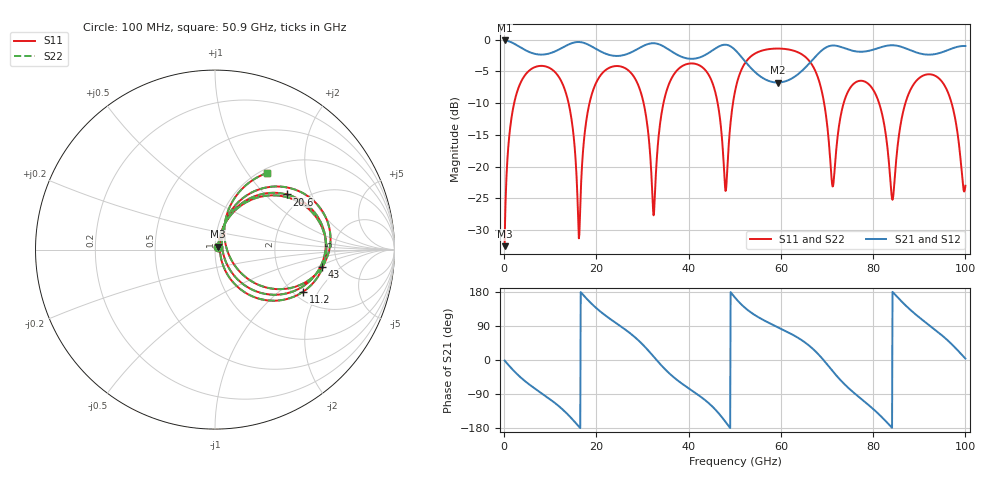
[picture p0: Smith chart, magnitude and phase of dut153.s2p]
! Touchstone file exported from HFSS 2026.1.0
!  File:  C:/ffzhzh/LocalFiles/Ansys_Project_Files/temp_test_TSV_RDL_153_1783464329_50928.aedt
!  Generated:  07:01:30 AM Jul  8, 2026
!  Design:  TSV_RDL
!  Project:  temp_test_TSV_RDL_153_1783464329_50928
! Variables:
!  h_bsmrdl = 4.2um
!  h_ox = 20um
!  h_rdl = 5um
!  h_sub = 54.29um
!  h_tmrdl = 4.93um
!  h_tsv = 54.29um
!  h_via = 3um
!  l_bsmrdl = 195.96um
!  l_sub = 3885.63um
!  l_tmrdl = 699.41um
!  m_sub = 200um
!  pitch = 51.77um
!  r_tsv = 8.87um
!  s_tmrdl = 10um
!  w_bsmrdl = 17.95um
!  w_sub = 500um
!  w_tmrdl = 15.42um
!  x_tsv_center1 = 707.12um
!  x_tsv_center2 = 921.03um
!  x_tsv_center3 = 1635.86um
!  x_tsv_center4 = 1849.77um
!  x_tsv_center5 = 2564.6um
!  x_tsv_center6 = 2778.51um
# GHz S MA R 50.000000
! Terminal data exported
! Port[1] = TM_RDL1_1_T1
! Port[2] = TM_RDL5_1_T1
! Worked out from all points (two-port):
!   1000 points, 100 MHz to 100 GHz, reference 50 ohm
!   highest |S21| = -0.15 dB at 100 MHz (marker M1); lowest = -6.8 dB at 59.3 GHz (marker M2)
!   |S21| within 3 dB of the highest: start of sweep to 51.9 GHz; 66.92 GHz to end of sweep
!   lowest |S11| = -32.5 dB at 100 MHz (marker M3), VSWR 1.05, Z = 51.7 + j1.68 ohm
!   |S11| at or under -10 dB: 13.96 GHz to 18.51 GHz (4.545 GHz wide, 28 % of centre); 30.23 GHz to 34.54 GHz (4.31 GHz wide, 13.3 % of centre); 81.28 GHz to 87 GHz (5.713 GHz wide, 6.79 % of centre) (the widest 3 of 7)
!   |S22| runs from -32.5 to -1.4 dB; largest |S21 - S12| = 4e-14
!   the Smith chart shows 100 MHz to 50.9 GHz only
!   S11 on the Smith chart (normalised r, x): 100 MHz: 1.03, +0.03; 11.2 GHz: 2.25, -1.50; 20.6 GHz: 1.64, +1.35; 43 GHz: 3.68, -1.12; 50.9 GHz: 1.07, +1.24
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0.1  0.02363 43.4  0.9831 -1.5  0.9831 -1.5  0.02363 43.4
! Gamma 0 0 0 0
! Port Impedance 50 0 50 0
3  0.4064 47.3  0.8909 -39.5  0.8909 -39.5  0.4064 47.3
11.2  0.5455 -25.3  0.8116 -115.2  0.8116 -115.2  0.5455 -25.3
16.8  0.08988 67.7  0.9504 176.3  0.9504 176.3  0.0901 67.3
20.6  0.5043 37.6  0.8171 130.5  0.8171 130.5  0.5044 37.5
28.7  0.4687 -31.3  0.8333 56.4  0.8333 56.4  0.4687 -31.4
32.3  0.04478 -13.4  0.9352 10.5  0.9352 10.5  0.04414 -13.7
33.4  0.1595 69.4  0.9216 -4.9  0.9216 -4.9  0.1594 69.7
36.5  0.5104 43.4  0.7976 -42.8  0.7976 -42.8  0.5103 43.4
43  0.6037 -9.2  0.7374 -100.4  0.7374 -100.4  0.6036 -9.2
48  0.06429 10.3  0.9099 -163.4  0.9099 -163.4  0.06443 10.5
50.1  0.3986 64.3  0.8262 164.0  0.8262 164.0  0.3987 64.3
50.9  0.5139 56.0  0.7689 153.1  0.7689 153.1  0.514 56.0
59.3  0.849 -3.6  0.4587 86.7  0.4587 86.7  0.8491 -3.6
66.7  0.6369 -53.2  0.682 32.0  0.682 32.0  0.637 -53.1
71.2  0.06972 -32.4  0.897 -29.0  0.897 -29.0  0.07058 -32.4
74.4  0.3791 13.0  0.8392 -71.1  0.8392 -71.1  0.3791 12.9
80.1  0.3974 -36.6  0.8336 -130.3  0.8336 -130.3  0.3974 -36.6
83.4  0.1098 -51.6  0.8982 -169.8  0.8982 -169.8  0.1098 -51.5
87.8  0.3815 38.8  0.8309 135.3  0.8309 135.3  0.3815 38.8
93  0.5265 -5.4  0.7636 84.0  0.7636 84.0  0.5265 -5.3
100  0.07064 29.1  0.8891 3.8  0.8891 3.8  0.07117 29.0
